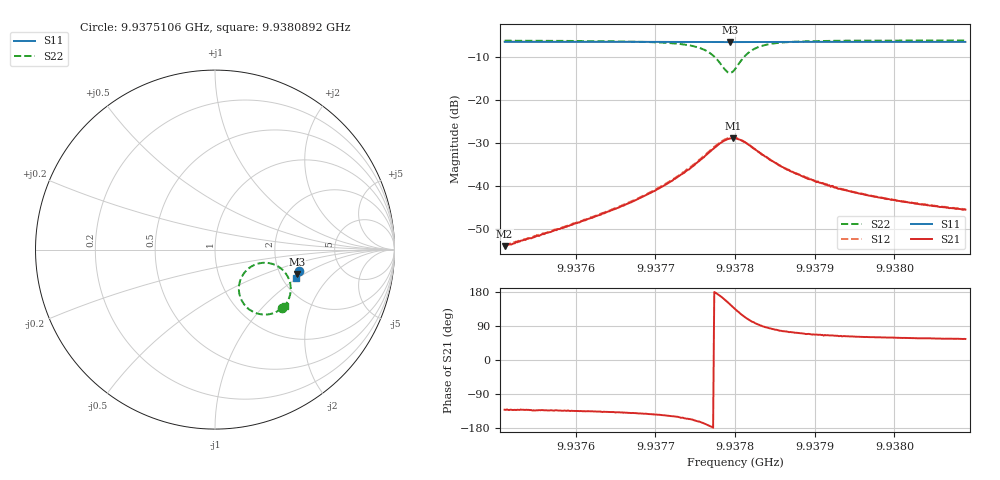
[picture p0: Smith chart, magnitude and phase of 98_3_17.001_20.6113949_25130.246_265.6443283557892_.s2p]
#  HZ  S  RI  R  50.00
! Rohde & Schwarz Vector Network Analyzer
! Rohde-Schwarz,ZNB20-2Port,1311601062101988,3.16
! Created: UTC 3/20/2024, 10:56:25 PM
! freq[Hz]  re:S11  im:S11  re:S21  im:S21  re:S12  im:S12  re:S22  im:S22
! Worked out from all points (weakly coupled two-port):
!   401 points, 9.9375106 GHz to 9.9380892 GHz, reference 50 ohm
!   highest |S21| = -28.88 dB at 9.937797 GHz (marker M1); lowest = -54.1 dB at 9.9375106 GHz (marker M2)
!   lowest |S11| = -6.4 dB at 9.9377941 GHz (marker M3), VSWR 2.82, Z = 123 - j43.6 ohm
!   |S11| at or under -10 dB: nowhere
!   |S22| runs from -13.6 to -6.0 dB; largest |S21 - S12| = 0.002
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9.9375106e9  0.4673 -0.12  -0.00129 -0.00148  -0.00133 -0.00152  0.3729 -0.3269
9.93760751e9  0.4651 -0.1265  -0.00272 -0.00274  -0.0028 -0.00269  0.3554 -0.3395
9.93766248e9  0.4637 -0.1305  -0.00455 -0.00396  -0.00471 -0.00397  0.3361 -0.3497
9.93770442e9  0.4624 -0.1334  -0.00759 -0.00537  -0.00784 -0.00537  0.3076 -0.3592
9.93773769e9  0.4609 -0.1359  -0.0132 -0.0064  -0.0135 -0.00628  0.2601 -0.3611
9.93775939e9  0.4596 -0.1373  -0.0205 -0.00515  -0.0212 -0.00472  0.2008 -0.34
9.93777096e9  0.4586 -0.1376  -0.0262 -0.00159  -0.0271 -0.0007  0.1597 -0.3016
9.93778109e9  0.4576 -0.1376  -0.0308 0.00585  -0.0313 0.00706  0.134 -0.2361
9.93778977e9  0.4569 -0.1371  -0.0314 0.0149  -0.0313 0.0167  0.145 -0.16
9.93779411e9  0.457 -0.1367  -0.0295 0.02  -0.0293 0.0217  0.1677 -0.1239
9.937797e9  0.4572 -0.1365  -0.0276 0.0231  -0.0272 0.0245  0.1886 -0.1038
9.93779989e9  0.4572 -0.1363  -0.0251 0.0255  -0.0244 0.027  0.2127 -0.0886
9.93780712e9  0.458 -0.1362  -0.0178 0.0292  -0.0167 0.0302  0.2769 -0.0733
9.93781436e9  0.4586 -0.1365  -0.0108 0.0295  -0.00961 0.0299  0.3317 -0.0839
9.93782159e9  0.459 -0.1372  -0.00522 0.0275  -0.00441 0.0279  0.3703 -0.1072
9.93783027e9  0.4595 -0.1379  -0.00116 0.0246  -0.000442 0.0246  0.3979 -0.1378
9.93784329e9  0.4596 -0.1392  0.00227 0.0201  0.00294 0.0202  0.4163 -0.1775
9.93786209e9  0.4596 -0.141  0.00396 0.0155  0.00435 0.0155  0.4221 -0.2168
9.93789681e9  0.4588 -0.1438  0.00454 0.0108  0.00458 0.0107  0.417 -0.2567
9.93793007e9  0.458 -0.1461  0.00417 0.0082  0.00432 0.0083  0.4099 -0.2772
9.93799372e9  0.4564 -0.1504  0.00358 0.00596  0.0037 0.00594  0.3986 -0.298
9.93808919e9  0.4539 -0.1569  0.00299 0.00433  0.00309 0.0043  0.3873 -0.3142
